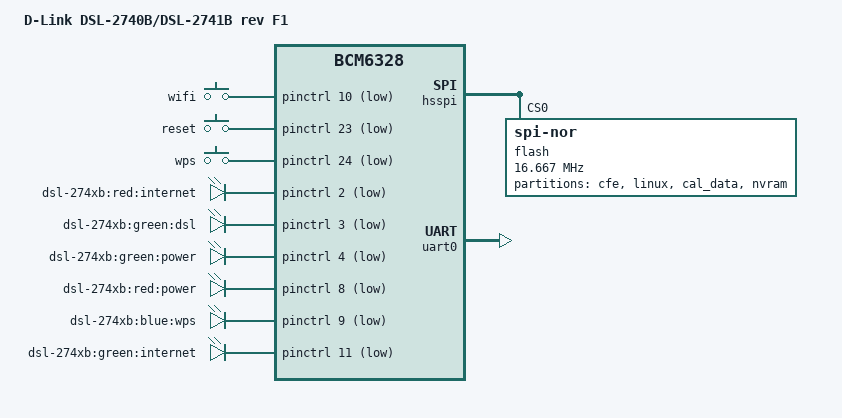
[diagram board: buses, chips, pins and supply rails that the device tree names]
/dts-v1/;

#include "bcm6328.dtsi"

#include <dt-bindings/input/input.h>

/ {
	model = "D-Link DSL-2740B/DSL-2741B rev F1";
	compatible = "d-link,dsl-274xb-f", "brcm,bcm6328";

	chosen {
		bootargs = "rootfstype=squashfs,jffs2 noinitrd console=ttyS0,115200";
		stdout-path = "serial0:115200n8";
	};

	keys {
		compatible = "gpio-keys-polled";
		#address-cells = <1>;
		#size-cells = <0>;
		poll-interval = <20>;

		wifi {
			label = "wifi";
			gpios = <&pinctrl 10 1>;
			linux,code = <KEY_WLAN>;
			debounce-interval = <60>;
		};

		reset {
			label = "reset";
			gpios = <&pinctrl 23 1>;
			linux,code = <KEY_RESTART>;
			debounce-interval = <60>;
		};

		wps {
			label = "wps";
			gpios = <&pinctrl 24 1>;
			linux,code = <KEY_WPS_BUTTON>;
			debounce-interval = <60>;
		};
	};

	leds {
		compatible = "gpio-leds";

		inet_red {
			label = "dsl-274xb:red:internet";
			gpios = <&pinctrl 2 1>;
		};
		dsl_green {
			label = "dsl-274xb:green:dsl";
			gpios = <&pinctrl 3 1>;
		};
		power_green {
			label = "dsl-274xb:green:power";
			gpios = <&pinctrl 4 1>;
			default-state = "on";
		};
		power_red {
			label = "dsl-274xb:red:power";
			gpios = <&pinctrl 8 1>;
		};
		wps_blue {
			label = "dsl-274xb:blue:wps";
			gpios = <&pinctrl 9 1>;
		};
		inet_green {
			label = "dsl-274xb:green:internet";
			gpios = <&pinctrl 11 1>;
		};
	};
};

&hsspi {
	status = "ok";

	flash@0 {
		compatible = "jedec,spi-nor";
		spi-max-frequency = <16666667>;
		spi-tx-bus-width = <2>;
		spi-rx-bus-width = <2>;
		reg = <0>;

		#address-cells = <1>;
		#size-cells = <1>;

		partitions {
			compatible = "fixed-partitions";
			#address-cells = <1>;
			#size-cells = <1>;

			cfe@0 {
				reg = <0x000000 0x010000>;
				label = "cfe";
				read-only;
			};

			linux@10000 {
				reg = <0x010000 0x7c0000>;
				label = "linux";
				compatible = "brcm,bcm963xx-imagetag";
			};

			cal_data@7d0000 {
				reg = <0x7d0000 0x010000>;
				label = "cal_data";
				read-only;
			};

			nvram@7e0000 {
				reg = <0x7e0000 0x020000>;
				label = "nvram";
			};
		};
	};
};

&uart0 {
	status = "ok";
};
